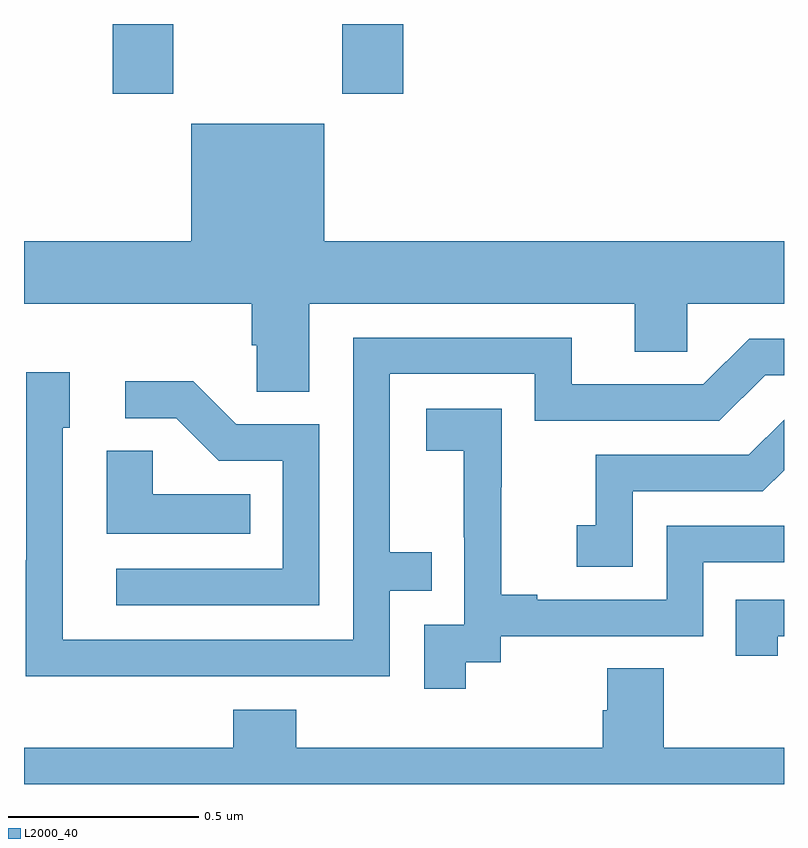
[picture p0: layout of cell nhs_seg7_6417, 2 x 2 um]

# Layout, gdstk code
import gdstk
lib = gdstk.Library(unit=1e-6, precision=1e-09)
def R(c, l, rs):  # rectangles x0, y0, x1, y1
    for r in rs: c.add(gdstk.rectangle(r[:2], r[2:], *l))
def P(c, l, *ps):  # polygons
    for p in ps: c.add(gdstk.Polygon(p, *l))
L2000_40 = (2000, 40)

nhs_seg7_6417 = lib.new_cell('nhs_seg7_6417')
R(nhs_seg7_6417, L2000_40, [(198.233,1019.817,198.393,1020), (198.838,1019.817,198.998,1020)])
P(nhs_seg7_6417, L2000_40, [(198.751,1019.264),(199.607,1019.264),(199.607,1019.137),(199.746,1019.137),(199.746,1019.264),(200,1019.264),(200,1019.428),(198.79,1019.428),(198.79,1019.737),(198.44,1019.737),(198.44,1019.428),(198,1019.428),(198,1019.264),(198.599,1019.264),(198.599,1019.155),(198.612,1019.155),(198.612,1019.032),(198.751,1019.032)],
  [(198.467,1018.284),(198.963,1018.284),(198.963,1018.509),(199.073,1018.509),(199.073,1018.61),(198.963,1018.61),(198.963,1019.079),(199.344,1019.079),(199.344,1018.956),(199.83,1018.956),(199.95,1019.076),(200,1019.076),(200,1019.172),(199.908,1019.172),(199.788,1019.052),(199.441,1019.052),(199.441,1019.175),(198.867,1019.175),(198.867,1018.38),(198.102,1018.38),(198.102,1018.938),(198.121,1018.938),(198.121,1019.083),(198.006,1019.083),(198.006,1018.589),(198.004,1018.589),(198.004,1018.283),(198.467,1018.283)],
  [(198.777,1018.947),(198.558,1018.947),(198.445,1019.06),(198.267,1019.06),(198.267,1018.962),(198.401,1018.962),(198.512,1018.851),(198.681,1018.851),(198.681,1018.566),(198.243,1018.566),(198.243,1018.47),(198.777,1018.47)],
  [(199.162,1018.321),(199.254,1018.321),(199.254,1018.389),(199.788,1018.389),(199.788,1018.584),(200,1018.584),(200,1018.68),(199.692,1018.68),(199.692,1018.485),(199.351,1018.485),(199.351,1018.498),(199.256,1018.498),(199.256,1018.781),(199.257,1018.781),(199.257,1018.987),(199.059,1018.987),(199.059,1018.877),(199.157,1018.877),(199.157,1018.649),(199.158,1018.649),(199.158,1018.419),(199.053,1018.419),(199.053,1018.251),(199.162,1018.251)],
  [(199.602,1018.77),(199.944,1018.77),(200,1018.826),(200,1018.959),(199.907,1018.866),(199.504,1018.866),(199.504,1018.681),(199.455,1018.681),(199.455,1018.572),(199.602,1018.572)],
  [(198.596,1018.762),(198.339,1018.762),(198.339,1018.877),(198.218,1018.877),(198.218,1018.658),(198.596,1018.658)],
  [(199.984,1018.389),(200,1018.389),(200,1018.485),(199.873,1018.485),(199.873,1018.338),(199.984,1018.338)],
  [(200,1018.096),(199.683,1018.096),(199.683,1018.304),(199.535,1018.304),(199.535,1018.194),(199.523,1018.194),(199.523,1018.096),(198.716,1018.096),(198.716,1018.195),(198.551,1018.195),(198.551,1018.096),(198,1018.096),(198,1018),(200,1018)])

lib.write_gds('nhs_seg7_6417.gds')
